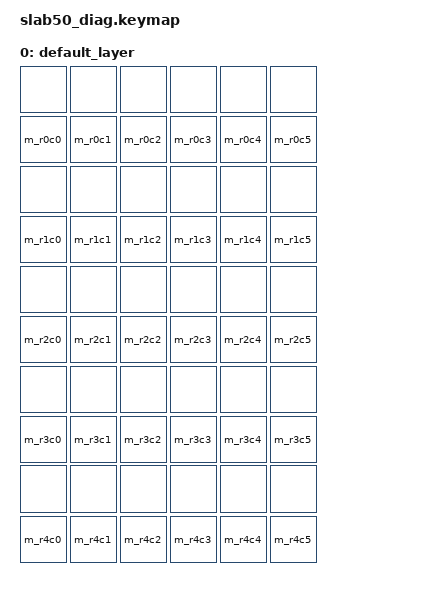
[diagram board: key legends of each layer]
/*
 * DIAGNOSTIC keymap for slab50_right_diag.
 *
 * Every key in the 5-row × 6-col right-half matrix types a unique
 * two-character code so you can identify exactly which GPIO pair
 * each physical switch is connected to.
 *
 * Decode table:
 *   Output  | RC position | Row GPIO      | Col GPIO
 *   --------|-------------|---------------|----------
 *   r0c0    | RC(0,6)     | gpio0 11 (P7) | gpio1 13 (P15)
 *   r0c1    | RC(0,7)     | gpio0 11 (P7) | gpio1 11 (P14)
 *   r0c2    | RC(0,8)     | gpio0 11 (P7) | gpio0 10 (P16)
 *   r0c3    | RC(0,9)     | gpio0 11 (P7) | gpio0  9 (P10)
 *   r0c4    | RC(0,10)    | gpio0 11 (P7) | gpio0  6 (P1)
 *   r0c5    | RC(0,11)    | gpio0 11 (P7) | gpio0 17 (P2)
 *   r1c0    | RC(1,6)     | gpio1 15 (P18)| gpio1 13 (P15)
 *   r1c1    | RC(1,7)     | gpio1 15 (P18)| gpio1 11 (P14)
 *   r1c2    | RC(1,8)     | gpio1 15 (P18)| gpio0 10 (P16)
 *   r1c3    | RC(1,9)     | gpio1 15 (P18)| gpio0  9 (P10)
 *   r1c4    | RC(1,10)    | gpio1 15 (P18)| gpio0  6 (P1)
 *   r1c5    | RC(1,11)    | gpio1 15 (P18)| gpio0 17 (P2)
 *   r2c0    | RC(2,6)     | gpio0  2 (P19)| gpio1 13 (P15)
 *   r2c1    | RC(2,7)     | gpio0  2 (P19)| gpio1 11 (P14)
 *   r2c2    | RC(2,8)     | gpio0  2 (P19)| gpio0 10 (P16)
 *   r2c3    | RC(2,9)     | gpio0  2 (P19)| gpio0  9 (P10)
 *   r2c4    | RC(2,10)    | gpio0  2 (P19)| gpio0  6 (P1)
 *   r2c5    | RC(2,11)    | gpio0  2 (P19)| gpio0 17 (P2)
 *   r3c0    | RC(3,6)     | gpio0 29 (P20)| gpio1 13 (P15)
 *   r3c1    | RC(3,7)     | gpio0 29 (P20)| gpio1 11 (P14)
 *   r3c2    | RC(3,8)     | gpio0 29 (P20)| gpio0 10 (P16)
 *   r3c3    | RC(3,9)     | gpio0 29 (P20)| gpio0  9 (P10)
 *   r3c4    | RC(3,10)    | gpio0 29 (P20)| gpio0  6 (P1)
 *   r3c5    | RC(3,11)    | gpio0 29 (P20)| gpio0 17 (P2)
 *   r4c0    | RC(4,6)     | gpio0 31 (P21)| gpio1 13 (P15)
 *   r4c1    | RC(4,7)     | gpio0 31 (P21)| gpio1 11 (P14)
 *   r4c2    | RC(4,8)     | gpio0 31 (P21)| gpio0 10 (P16)
 *   r4c3    | RC(4,9)     | gpio0 31 (P21)| gpio0  9 (P10)
 *   r4c4    | RC(4,10)    | gpio0 31 (P21)| gpio0  6 (P1)
 *   r4c5    | RC(4,11)    | gpio0 31 (P21)| gpio0 17 (P2)
 *
 * The LEFT side of the matrix (col 0-5) is bound to &none so it
 * doesn't interfere. Only the right half is under test here.
 */

#include <behaviors.dtsi>
#include <dt-bindings/zmk/keys.h>

/ {
    macros {
        /* ── Row 0 ──────────────────────────────────────────────────── */
        m_r0c0: m_r0c0 { compatible = "zmk,behavior-macro"; #binding-cells = <0>; bindings = <&kp R &kp N0 &kp C &kp N0>; };
        m_r0c1: m_r0c1 { compatible = "zmk,behavior-macro"; #binding-cells = <0>; bindings = <&kp R &kp N0 &kp C &kp N1>; };
        m_r0c2: m_r0c2 { compatible = "zmk,behavior-macro"; #binding-cells = <0>; bindings = <&kp R &kp N0 &kp C &kp N2>; };
        m_r0c3: m_r0c3 { compatible = "zmk,behavior-macro"; #binding-cells = <0>; bindings = <&kp R &kp N0 &kp C &kp N3>; };
        m_r0c4: m_r0c4 { compatible = "zmk,behavior-macro"; #binding-cells = <0>; bindings = <&kp R &kp N0 &kp C &kp N4>; };
        m_r0c5: m_r0c5 { compatible = "zmk,behavior-macro"; #binding-cells = <0>; bindings = <&kp R &kp N0 &kp C &kp N5>; };

        /* ── Row 1 ──────────────────────────────────────────────────── */
        m_r1c0: m_r1c0 { compatible = "zmk,behavior-macro"; #binding-cells = <0>; bindings = <&kp R &kp N1 &kp C &kp N0>; };
        m_r1c1: m_r1c1 { compatible = "zmk,behavior-macro"; #binding-cells = <0>; bindings = <&kp R &kp N1 &kp C &kp N1>; };
        m_r1c2: m_r1c2 { compatible = "zmk,behavior-macro"; #binding-cells = <0>; bindings = <&kp R &kp N1 &kp C &kp N2>; };
        m_r1c3: m_r1c3 { compatible = "zmk,behavior-macro"; #binding-cells = <0>; bindings = <&kp R &kp N1 &kp C &kp N3>; };
        m_r1c4: m_r1c4 { compatible = "zmk,behavior-macro"; #binding-cells = <0>; bindings = <&kp R &kp N1 &kp C &kp N4>; };
        m_r1c5: m_r1c5 { compatible = "zmk,behavior-macro"; #binding-cells = <0>; bindings = <&kp R &kp N1 &kp C &kp N5>; };

        /* ── Row 2 ──────────────────────────────────────────────────── */
        m_r2c0: m_r2c0 { compatible = "zmk,behavior-macro"; #binding-cells = <0>; bindings = <&kp R &kp N2 &kp C &kp N0>; };
        m_r2c1: m_r2c1 { compatible = "zmk,behavior-macro"; #binding-cells = <0>; bindings = <&kp R &kp N2 &kp C &kp N1>; };
        m_r2c2: m_r2c2 { compatible = "zmk,behavior-macro"; #binding-cells = <0>; bindings = <&kp R &kp N2 &kp C &kp N2>; };
        m_r2c3: m_r2c3 { compatible = "zmk,behavior-macro"; #binding-cells = <0>; bindings = <&kp R &kp N2 &kp C &kp N3>; };
        m_r2c4: m_r2c4 { compatible = "zmk,behavior-macro"; #binding-cells = <0>; bindings = <&kp R &kp N2 &kp C &kp N4>; };
        m_r2c5: m_r2c5 { compatible = "zmk,behavior-macro"; #binding-cells = <0>; bindings = <&kp R &kp N2 &kp C &kp N5>; };

        /* ── Row 3 ──────────────────────────────────────────────────── */
        m_r3c0: m_r3c0 { compatible = "zmk,behavior-macro"; #binding-cells = <0>; bindings = <&kp R &kp N3 &kp C &kp N0>; };
        m_r3c1: m_r3c1 { compatible = "zmk,behavior-macro"; #binding-cells = <0>; bindings = <&kp R &kp N3 &kp C &kp N1>; };
        m_r3c2: m_r3c2 { compatible = "zmk,behavior-macro"; #binding-cells = <0>; bindings = <&kp R &kp N3 &kp C &kp N2>; };
        m_r3c3: m_r3c3 { compatible = "zmk,behavior-macro"; #binding-cells = <0>; bindings = <&kp R &kp N3 &kp C &kp N3>; };
        m_r3c4: m_r3c4 { compatible = "zmk,behavior-macro"; #binding-cells = <0>; bindings = <&kp R &kp N3 &kp C &kp N4>; };
        m_r3c5: m_r3c5 { compatible = "zmk,behavior-macro"; #binding-cells = <0>; bindings = <&kp R &kp N3 &kp C &kp N5>; };

        /* ── Row 4 ──────────────────────────────────────────────────── */
        m_r4c0: m_r4c0 { compatible = "zmk,behavior-macro"; #binding-cells = <0>; bindings = <&kp R &kp N4 &kp C &kp N0>; };
        m_r4c1: m_r4c1 { compatible = "zmk,behavior-macro"; #binding-cells = <0>; bindings = <&kp R &kp N4 &kp C &kp N1>; };
        m_r4c2: m_r4c2 { compatible = "zmk,behavior-macro"; #binding-cells = <0>; bindings = <&kp R &kp N4 &kp C &kp N2>; };
        m_r4c3: m_r4c3 { compatible = "zmk,behavior-macro"; #binding-cells = <0>; bindings = <&kp R &kp N4 &kp C &kp N3>; };
        m_r4c4: m_r4c4 { compatible = "zmk,behavior-macro"; #binding-cells = <0>; bindings = <&kp R &kp N4 &kp C &kp N4>; };
        m_r4c5: m_r4c5 { compatible = "zmk,behavior-macro"; #binding-cells = <0>; bindings = <&kp R &kp N4 &kp C &kp N5>; };
    };

    keymap {
        compatible = "zmk,keymap";

        default_layer {
            bindings = <
                /* LEFT half — not under test, all silent */
                &none &none &none &none &none &none
                /* RIGHT half — each key types rXcY */
                &m_r0c0 &m_r0c1 &m_r0c2 &m_r0c3 &m_r0c4 &m_r0c5

                &none &none &none &none &none &none
                &m_r1c0 &m_r1c1 &m_r1c2 &m_r1c3 &m_r1c4 &m_r1c5

                &none &none &none &none &none &none
                &m_r2c0 &m_r2c1 &m_r2c2 &m_r2c3 &m_r2c4 &m_r2c5

                &none &none &none &none &none &none
                &m_r3c0 &m_r3c1 &m_r3c2 &m_r3c3 &m_r3c4 &m_r3c5

                &none &none &none &none &none &none
                &m_r4c0 &m_r4c1 &m_r4c2 &m_r4c3 &m_r4c4 &m_r4c5
            >;
        };
    };
};
